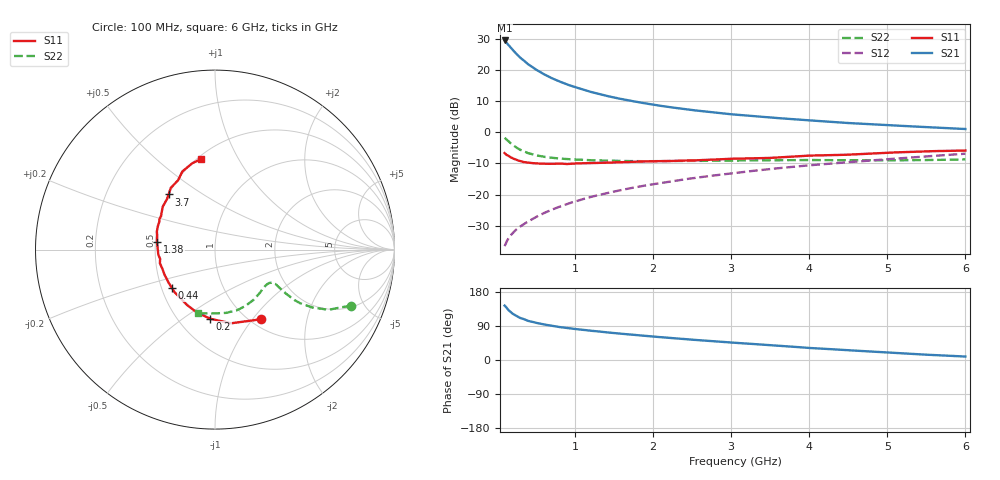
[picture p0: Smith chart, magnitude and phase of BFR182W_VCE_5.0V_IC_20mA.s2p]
! Infineon Technologies  Discrete & RF Semiconductors
! BFR182W
! VCE =  5.0 V,  IC =  20 mA
! Common Emitter S-Parameters:  Nov 2015
# GHz  S  MA  R  50
!  f  S11  S21  S12  S22
! GHz  MAG  ANG  MAG  ANG  MAG  ANG  MAG  ANG
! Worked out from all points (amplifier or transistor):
!   192 points, 100 MHz to 6 GHz, reference 50 ohm
!   highest |S21| = 29.6 dB at 100 MHz (marker M1)
!   |S21| within 3 dB of that: start of sweep to 202.3 MHz
!   unconditionally stable (mu >= 1): 758.8 MHz to 2.661 GHz
!   at 440 MHz: K = 0.88, MSG = 24.7 dB, |S12| = -28.1 dB
!   at 1.7 GHz: K = 1.05, MAG = 12.8 dB, |S12| = -18.0 dB
!   at 6 GHz: K = 0.80, MSG = 4.0 dB, |S12| = -6.9 dB
!   S11 on the Smith chart (normalised r, x): 100 MHz: 1.11, -1.10; 200 MHz: 0.71, -0.64; 440 MHz: 0.57, -0.27; 1.38 GHz: 0.51, +0.05; 3.7 GHz: 0.50, +0.37; 6 GHz: 0.52, +0.71
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0.1  0.4646 -56.7  30.06 143.6  0.0148 70.4  0.8182 -22.4
0.15  0.4202 -77.7  25.34 131.4  0.02 66.9  0.7163 -27.9
0.2  0.3862 -93.9  21.43 122.5  0.0237 65.1  0.6332 -30.7
0.24  0.3665 -104.0  18.93 117.5  0.0267 64.9  0.5821 -31.8
0.26  0.3591 -108.6  17.84 115.1  0.0281 64.9  0.5606 -32.2
0.3  0.3457 -116.7  15.91 110.9  0.0306 65.2  0.5253 -32.4
0.4  0.327 -133.8  12.49 103.3  0.0368 66.4  0.4639 -31.8
0.44  0.322 -137.9  11.58 101.5  0.0394 67.2  0.4498 -31.5
0.5  0.3177 -144.2  10.25 98.1  0.0434 68.3  0.4286 -30.9
0.6  0.3141 -153.4  8.665 93.9  0.0502 69.5  0.4055 -30.3
0.7  0.312 -160.0  7.474 90.2  0.0568 70.5  0.3911 -29.7
0.9  0.3099 -170.5  5.886 84.4  0.0706 71.6  0.372 -29.6
1.1  0.3182 -178.4  4.912 79.7  0.0843 72.2  0.3615 -30.7
1.38  0.3252 172.8  3.934 73.6  0.1034 72.2  0.3518 -32.5
1.72  0.3357 164.3  3.211 67.0  0.1272 71.7  0.3453 -35.7
2.08  0.3446 156.2  2.694 60.6  0.1523 70.8  0.3447 -40.1
2.5  0.3531 148.4  2.283 53.6  0.1827 69.4  0.3479 -45.3
3.1  0.3784 139.3  1.909 44.7  0.2264 66.7  0.3529 -54.6
3.7  0.4014 130.1  1.661 36.3  0.2725 63.5  0.3569 -64.8
4.1  0.4254 124.0  1.53 30.7  0.3024 61.1  0.3584 -71.9
5.1  0.4761 111.1  1.289 18.5  0.3779 54.9  0.3556 -90.5
6  0.5105 98.9  1.132 9.1  0.454 49.2  0.367 -105.2
